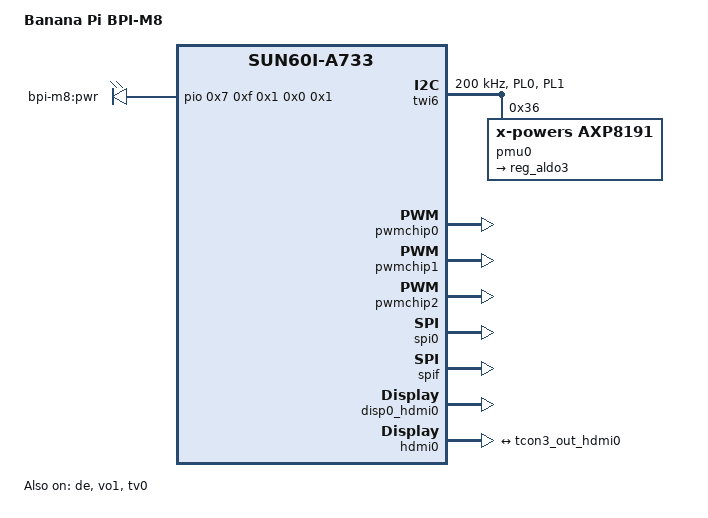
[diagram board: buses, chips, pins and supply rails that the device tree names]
/*
 * Allwinner Technology CO., Ltd. sun50iw10p1 platform
 *
 * modify base on juno.dts
 */
/dts-v1/;
#include <dt-bindings/interrupt-controller/arm-gic.h>
#include <dt-bindings/gpio/gpio.h>
#include "sun60iw2p1-clk.dtsi"
/*#include "sun50iw10p1-pinctrl.dtsi"*/
#include <dt-bindings/thermal/thermal.h>
#include <media_bus_format.h>
#include <drm/drm_mipi_dsi.h>
#include <dt-bindings/phy/phy.h>
/ {
	model = "Banana Pi BPI-M8";
	compatible = "allwinner,a733", "arm,sun60iw2p1";
	#address-cells = <2>;
	#size-cells = <2>;

	aliases {
		mmc0 = &card0_boot_para;
		mmc2 = &card2_boot_para;
		pmu0 = &pmu0;
		/* The legacy sunxi PWM driver resolves controllers by /aliases. */
		pwmchip0 = &pwmchip0;
		pwmchip1 = &pwmchip1;
		pwmchip2 = &pwmchip2;
		pwm18 = &pwm18;
		sunxi-mmc0 = &card0_boot_para;
		sunxi-mmc2 = &card2_boot_para;
		twi6 = &twi6;
	};

	leds {
		compatible = "gpio-leds";

		pwr-led {
			label = "bpi-m8:pwr";
			/* V1.0: PH15 drives the power LED; PD14 is EEPROM WP. */
			gpios = <&pio 0x7 0xf 0x1 0x0 0x1 0x1>;
			default-state = "on";
		};
	};

	soc: soc@29000000 {
		compatible = "simple-bus";
		#address-cells = <2>;
		#size-cells = <2>;
		power_sply:power_sply@4500000c {
			device_type = "power_sply";
			/* 10000 + millivolts enables the output in this BSP. */
			/* V1.0 supplies the 3.3 V PK bank from DLDO4. */
			dldo4_vol = <13300>;
			/* SWOUT1 feeds the switched 3.3 V peripheral rail. */
			dc1sw1_vol = <13300>;
		};

		power_delay:power_delay@4500024 {
			device_type = "power_delay";
		};

		platform:platform@45000004 {
			device_type = "platform";
			dragonboard_test = <0>;

		};

		target:target@45000008 {
			device_type = "target";

		};

		charger0:charger0@45000010 {
			device_type = "charger0";

		};
		card_boot:card_boot@45000014 {
			device_type = "card_boot";
			logical_start   = <40960>;
			/* sprite_gpio0 = <&pio PI 9 1 0xffffffff 0xffffffff 1>; */
			boot_work_delay = <130>;
			boot_work_times = <3>;
			sprite_gpio0 = <&pio 0x8 0x9 0x1 0xffffffff 0xffffffff 0x0>;
		};

		gpio_bias:gpio_bias@45000018 {
			device_type = "gpio_bias";
		};

		fastboot_key:fastboot_key@4500001c {
			device_type = "fastboot_key";
			key_max = <42>;
			key_min = <38>;
		};

		recovery_key:recovery_key@45000020 {
			device_type = "recovery_key";
			key_max = <31>;
			key_min = <28>;
		};

		adc_boot_recovery:adc_boot_recovery@45000024 {
			device_type = "adc_boot_recovery";
		};

		gpadc_boot_recovery:gpadc_boot_recovery@45000024 {
			device_type = "gpadc_boot_recovery";
		};

		key_boot_recovery:key_boot_recovery@45000028 {
			device_type = "key_boot_recovery";
		};

		pio: pinctrl@0300b000 {
			compatible = "allwinner,sun60iw2p1-pinctrl";
			device_type = "pio";
			gpio-controller;
			#size-cells = <0>;
			#gpio-cells = <6>;
			/* takes the debounce time in usec as argument */
			input-debounce = <0 0 0 0 0 0 0 0 0>;
			r_pio: pinctrl@07025000 {

				s_twi0_pins_a: s_twi0@0 {
					allwinner,pins = "PL0", "PL1";
					allwinner,pname = "s_twi0_scl", "s_twi0_sda";
					allwinner,function = "s_twi0";
					allwinner,muxsel = <2>;
					allwinner,drive = <1>;
					allwinner,pull = <1>;
				};

				s_twi0_pins_b: s_twi0@1 {
					allwinner,pins = "PL0", "PL1";
					allwinner,function = "gpio_out";
					allwinner,muxsel = <1>;
					allwinner,drive = <1>;
					allwinner,pull = <1>;
				};
			};
			sdc0_pins_a: sdc0@0 {
				allwinner,pins = "PF0", "PF1", "PF2",
						 "PF3", "PF4", "PF5";
				allwinner,function = "sdc0";
				allwinner,muxsel = <2>;
				allwinner,drive = <3>;
				allwinner,pull = <1>;
			};

			sdc0_pins_b: sdc0@1 {
				allwinner,pins = "PF0", "PF1", "PF2",
						 "PF3", "PF4", "PF5";
				allwinner,function = "io_disabled";
				allwinner,muxsel = <7>;
				allwinner,drive = <1>;
				allwinner,pull = <1>;
			};

			sdc0_pins_c: sdc0@2 {
				allwinner,pins = "PF0", "PF1", "PF2",
						 "PF3", "PF4", "PF5";
				allwinner,function = "uart0_jtag";
				allwinner,muxsel = <3>;
				allwinner,drive = <1>;
				allwinner,pull = <1>;
			};

			sdc2_pins_a: sdc2@0 {
				allwinner,pins = "PF16", "PF17", "PF18",
						 "PF19", "PF20", "PF21", "PF22",
						 "PF23", "PF24", "PF25";
				allwinner,function = "sdc2";
				allwinner,muxsel = <3>;
				allwinner,drive = <3>;
				allwinner,pull = <1>;
			};

			sdc2_pins_b: sdc2@1 {
				allwinner,pins = "PC0", "PC1", "PC5", "PC6",
						 "PC8", "PC9", "PC10", "PC11",
						 "PC13", "PC14", "PC15", "PC16";
				allwinner,function = "io_disabled";
				allwinner,muxsel = <7>;
				allwinner,drive = <1>;
				allwinner,pull = <1>;
			};

			sdc2_pins_c: sdc2@2 {
				allwinner,pins = "PC0";
				allwinner,function = "sdc2";
				allwinner,muxsel = <3>;
				allwinner,drive = <3>;
				allwinner,pull = <2>;
			};

			nand0_pins_a: nand0@0 {
			};

			nand0_pins_b: nand0@1 {
			};

			nand0_pins_c: nand0@2 {
			};

			spi0_pins_a: spi0@0 {
			};

			spi0_pins_b: spi0@1 {
			};

			spi0_pins_c: spi0@2 {
			};

			spif_pins_a: spif@0 {
			};

			spif_pins_b: spif@1 {
			};

			spif_pins_c: spif@2 {
			};

			twi6: s_twi@0x07083000 {
				clock-frequency = <200000>;
				pinctrl-0 = <&s_twi0_pins_a>;
				pinctrl-1 = <&s_twi0_pins_b>;
				twi-supply = <&reg_aldo3>;
				status = "okay";

				pmu0: pmu@36 {
					compatible = "x-powers,axp8191";
					reg = <0x36>;
					status = "okay";

					regulators@0 {
						reg_aldo3: aldo3 {
							regulator-name = "axp8191-aldo3";
						};
					};
				};
			};
			lvds0_pins_a: lvds0@0 {
			};
			lvds0_pins_b: lvds0@1 {
			};
			lvds1_pins_a: lvds1@0 {
			};
			lvds1_pins_b: lvds1@1 {
			};
			lvds2_pins_a: lvds2@0 {
			};
			lvds2_pins_b: lvds2@1 {
			};
			lvds3_pins_a: lvds3@0 {
			};
			lvds3_pins_b: lvds3@1 {
			};
			lcd1_lvds2link_pins_a: lcd1_lvds2link@0 {
			};
			lcd1_lvds2link_pins_b: lcd1_lvds2link@1 {
			};
			lvds2link_pins_a: lvds2link@0 {
			};
			lvds2link_pins_b: lvds2link@1 {
			};
			rgb24_pins_a: rgb24@0 {
			};
			rgb24_pins_b: rgb24@1 {
			};
			rgb18_pins_a: rgb18@0 {
			};
			rgb18_pins_b: rgb18@1 {
			};
			rgb0_2pins_a: rgb0@0 {
				allwinner,pins = "PG0", "PG1";
				allwinner,pname = "PG0", "PG1";
				allwinner,function = "rgb24";
				allwinner,muxsel = <3>;
				allwinner,drive = <3>;
				allwinner,pull = <0>;
			};
			rgb0_2pins_b: rgb0@1 {
				allwinner,pins = "PG0", "PG1";
				allwinner,pname = "PG0", "PG1";
				allwinner,function = "rgb24_suspend";
				allwinner,muxsel = <7>;
				allwinner,drive = <3>;
				allwinner,pull = <0>;
			};
			rgb0_22pins_a: rgb0@2 {
				allwinner,pins = "PD0", "PD1", "PD2", "PD3", "PD4", "PD5", "PG2", "PG3", "PD6", \
					"PD7", "PD8", "PD9", "PD10", "PD11", "PG4", "PG5", "PD12", "PD13", "PD14", \
					"PD15", "PD16", "PD17", "PD18", "PD19", "PD20", "PD21";
				allwinner,pname = "PD0", "PD1", "PD2", "PD3", "PD4", "PD5", "PG2", "PG3", "PD6", \
					"PD7", "PD8", "PD9", "PD10", "PD11", "PG4", "PG5", "PD12", "PD13", "PD14", \
					"PD15", "PD16", "PD17", "PD18", "PD19", "PD20", "PD21";
				allwinner,function = "rgb24";
				allwinner,muxsel = <2>;
				allwinner,drive = <3>;
				allwinner,pull = <0>;
			};
			rgb0_22pins_b: rgb0@3 {
				allwinner,pins = "PD0", "PD1", "PD2", "PD3", "PD4", "PD5", "PG2", "PG3", "PD6", \
					"PD7", "PD8", "PD9", "PD10", "PD11", "PG4", "PG5", "PD12", "PD13", "PD14", \
					"PD15", "PD16", "PD17", "PD18", "PD19", "PD20", "PD21";
				allwinner,pname = "PD0", "PD1", "PD2", "PD3", "PD4", "PD5", "PG2", "PG3", "PD6", \
					"PD7", "PD8", "PD9", "PD10", "PD11", "PG4", "PG5", "PD12", "PD13", "PD14", \
					"PD15", "PD16", "PD17", "PD18", "PD19", "PD20", "PD21";
				allwinner,function = "rgb24_suspend";
				allwinner,muxsel = <7>;
				allwinner,drive = <3>;
				allwinner,pull = <0>;
			};
			rgb1_24pins_a: rgb1@0 {
				allwinner,pins = "PJ0", "PJ1", "PJ2", "PJ3", "PJ4", "PJ5", "PJ6", "PJ7", "PJ8", "PJ9", \
					"PJ10", "PJ11", "PJ12", "PJ13", "PJ14", "PJ15", "PJ16", "PJ17", "PJ18", "PJ19", \
					"PJ20", "PJ21", "PJ22", "PJ23", "PJ24", "PJ25", "PJ26", "PJ27";
				allwinner,pname = "PJ0", "PJ1", "PJ2", "PJ3", "PJ4", "PJ5", "PJ6", "PJ7", "PJ8", "PJ9", \
					"PJ10", "PJ11", "PJ12", "PJ13", "PJ14", "PJ15", "PJ16", "PJ17", "PJ18", "PJ19", \
					"PJ20", "PJ21", "PJ22", "PJ23", "PJ24", "PJ25", "PJ26", "PJ27";
				allwinner,function = "rgb24";
				allwinner,muxsel = <2>;
				allwinner,drive = <3>;
				allwinner,pull = <0>;
			};
			rgb1_24pins_b: rgb1@1 {
				allwinner,pins = "PJ0", "PJ1", "PJ2", "PJ3", "PJ4", "PJ5", "PJ6", "PJ7", "PJ8", "PJ9", \
					"PJ10", "PJ11", "PJ12", "PJ13", "PJ14", "PJ15", "PJ16", "PJ17", "PJ18", "PJ19", \
					"PJ20", "PJ21", "PJ22", "PJ23", "PJ24", "PJ25", "PJ26", "PJ27";
				allwinner,pname = "PJ0", "PJ1", "PJ2", "PJ3", "PJ4", "PJ5", "PJ6", "PJ7", "PJ8", "PJ9", \
					"PJ10", "PJ11", "PJ12", "PJ13", "PJ14", "PJ15", "PJ16", "PJ17", "PJ18", "PJ19", \
					"PJ20", "PJ21", "PJ22", "PJ23", "PJ24", "PJ25", "PJ26", "PJ27";
				allwinner,function = "rgb24_suspend";
				allwinner,muxsel = <7>;
				allwinner,drive = <3>;
				allwinner,pull = <0>;
			};
			eink_pins_a: eink@0 {
			};
			eink_pins_b: eink@1 {
			};
			dsi4lane_pins_a: dsi4lane@0{
			}; /* avoid compile err */
			dsi4lane_pins_b: dsi4lane@1{
			}; /* avoid compile err */
			dsi0_4lane_pins_a: dsi0_4lane@0 {
			};
			dsi0_4lane_pins_b: dsi0_4lane@1 {
			};
			dsi1_4lane_pins_a: dsi1_4lane@0 {
			};
			dsi1_4lane_pins_b: dsi1_4lane@1 {
			};
			pwm0_pin_active: pwm0@0 {
			};

			pwm0_pin_sleep: pwm0@1 {
			};

			pwm1_pin_active: pwm1@0 {
			};

			pwm1_pin_sleep: pwm1@1 {
			};

			pwm2_pin_active: pwm2@0 {
			};

			pwm2_pin_sleep: pwm2@1 {
			};

			pwm3_pin_active: pwm3@0 {
			};

			pwm3_pin_sleep: pwm3@1 {
			};

			pwm4_pin_active: pwm4@0 {
			};

			pwm4_pin_sleep: pwm4@1 {
			};

			pwm16_pin_active: pwm16@0 {
			};

			pwm16_pin_sleep: pwm16@1 {
			};

			pwm18_pin_active: pwm18@0 {
				allwinner,pins = "PE14";
				allwinner,pname = "PE14";
				allwinner,function = "pwm1_8";
				allwinner,muxsel = <5>;
				allwinner,drive = <1>;
				allwinner,pull = <0>;
			};

			pwm19_pin_active: pwm19@0 {
			};

			pwm19_pin_sleep: pwm19@1 {
			};
			gmac0_pins_default: gmac0@0 {
			};
			gmac0_pins_sleep: gmac0@1 {
			};
			gmac1_pins_default: gmac1@0 {
			};
			gmac1_pins_sleep: gmac1@1 {
			};
		};

		pwmchip0: pwmchip0@2527000 {
			#pwm-cells = <0x3>;
			compatible = "allwinner,sunxi-pwm";
			reg = <0x0 0x02527000 0x0 0x400>;
			pwm-number = <10>;
			pwm-base = <0x0>;
			sunxi-pwms = <&pwm0>, <&pwm1>, <&pwm2>, <&pwm3>, <&pwm4>,
			<&pwm5>, <&pwm6>, <&pwm7>, <&pwm8>, <&pwm9>;
		};

		pwm0: pwm0@2527010 {
			#pwm-cells = <0x3>;
			compatible = "allwinner,sunxi-pwm0";
			reg = <0x0 0x02527010 0x0 0x4>;
			reg_base = <0x02527000>;
			status = "disabled";
		};

		pwm1: pwm1@2527011 {
			#pwm-cells = <0x3>;
			compatible = "allwinner,sunxi-pwm1";
			reg = <0x0 0x02527011 0x0 0x4>;
			reg_base = <0x02527000>;
			status = "disabled";
		};

		pwm2: pwm2@2527012 {
			#pwm-cells = <0x3>;
			compatible = "allwinner,sunxi-pwm2";
			reg = <0x0 0x02527012 0x0 0x4>;
			reg_base = <0x02527000>;
			status = "disabled";
		};

		pwm3: pwm3@2527013 {
			#pwm-cells = <0x3>;
			compatible = "allwinner,sunxi-pwm3";
			reg = <0x0 0x02527013 0x0 0x4>;
			reg_base = <0x02527000>;
			status = "disabled";
		};

		pwm4: pwm4@2527014 {
			#pwm-cells = <0x3>;
			compatible = "allwinner,sunxi-pwm4";
			reg = <0x0 0x02527014 0x0 0x4>;
			reg_base = <0x02527000>;
			status = "disabled";
		};

		pwm5: pwm5@2527015 {
			#pwm-cells = <0x3>;
			compatible = "allwinner,sunxi-pwm5";
			reg = <0x0 0x02527015 0x0 0x4>;
			reg_base = <0x02527000>;
			status = "disabled";
		};

		pwm6: pwm6@2527016 {
			#pwm-cells = <0x3>;
			compatible = "allwinner,sunxi-pwm6";
			reg = <0x0 0x02527016 0x0 0x4>;
			reg_base = <0x02527000>;
			status = "disabled";
		};

		pwm7: pwm7@2527017 {
			#pwm-cells = <0x3>;
			compatible = "allwinner,sunxi-pwm7";
			reg = <0x0 0x02527017 0x0 0x4>;
			reg_base = <0x02527000>;
			status = "disabled";
		};

		pwm8: pwm8@2527018 {
			#pwm-cells = <0x3>;
			compatible = "allwinner,sunxi-pwm8";
			reg = <0x0 0x02527018 0x0 0x4>;
			reg_base = <0x02527000>;
			status = "disabled";
		};

		pwm9: pwm9@2527019 {
			#pwm-cells = <0x3>;
			compatible = "allwinner,sunxi-pwm9";
			reg = <0x0 0x02527019 0x0 0x4>;
			reg_base = <0x02527000>;
			status = "disabled";
		};

		pwmchip1: pwmchip1@2528000 {
			#pwm-cells = <0x3>;
			compatible = "allwinner,sunxi-pwm";
			reg = <0x0 0x02528000 0x0 0x400>;
			pwm-number = <10>;
			pwm-base = <0xa>;
			sunxi-pwms = <&pwm10>, <&pwm11>, <&pwm12>, <&pwm13>, <&pwm14>,
			<&pwm15>, <&pwm16>, <&pwm17>, <&pwm18>, <&pwm19>;
		};

		pwm10: pwm10@2528010 {
			#pwm-cells = <0x3>;
			compatible = "allwinner,sunxi-pwm10";
			reg = <0x0 0x02528010 0x0 0x4>;
			reg_base = <0x02528000>;
			status = "disabled";
		};

		pwm11: pwm11@2528011 {
			#pwm-cells = <0x3>;
			compatible = "allwinner,sunxi-pwm11";
			reg = <0x0 0x02528011 0x0 0x4>;
			reg_base = <0x02528000>;
			status = "disabled";
		};

		pwm12: pwm12@2528012 {
			#pwm-cells = <0x3>;
			compatible = "allwinner,sunxi-pwm12";
			reg = <0x0 0x02528012 0x0 0x4>;
			reg_base = <0x02528000>;
			status = "disabled";
		};

		pwm13: pwm13@2528013 {
			#pwm-cells = <0x3>;
			compatible = "allwinner,sunxi-pwm13";
			reg = <0x0 0x02528013 0x0 0x4>;
			reg_base = <0x02528000>;
			status = "disabled";
		};

		pwm14: pwm14@2528014 {
			#pwm-cells = <0x3>;
			compatible = "allwinner,sunxi-pwm14";
			reg = <0x0 0x02528014 0x0 0x4>;
			reg_base = <0x02528000>;
			status = "disabled";
		};

		pwm15: pwm15@2528015 {
			#pwm-cells = <0x3>;
			compatible = "allwinner,sunxi-pwm15";
			reg = <0x0 0x02528015 0x0 0x4>;
			reg_base = <0x02528000>;
			status = "disabled";
		};

		pwm16: pwm16@2528016 {
			#pwm-cells = <0x3>;
			compatible = "allwinner,sunxi-pwm16";
			reg = <0x0 0x02528016 0x0 0x4>;
			reg_base = <0x02528000>;
			status = "disabled";
		};

		pwm17: pwm17@2528017 {
			#pwm-cells = <0x3>;
			compatible = "allwinner,sunxi-pwm17";
			reg = <0x0 0x02528017 0x0 0x4>;
			reg_base = <0x02528000>;
			status = "disabled";
		};

		pwm18: pwm18@2528018 {
			#pwm-cells = <0x3>;
			compatible = "allwinner,sunxi-pwm18";
			reg = <0x0 0x02528018 0x0 0x4>;
			reg_base = <0x02528000>;
			status = "disabled";
		};

		pwm19: pwm19@2528019 {
			#pwm-cells = <0x3>;
			compatible = "allwinner,sunxi-pwm19";
			reg = <0x0 0x02528019 0x0 0x4>;
			reg_base = <0x02528000>;
			status = "disabled";
		};

		pwmchip2: spwm0@7023000 {
			#pwm-cells = <0x3>;
			compatible = "allwinner,sunxi-pwm";
			reg = <0x0 0x07023000 0x0 0x400>;
			pwm-number = <10>;
			pwm-base = <0x14>;
			sunxi-pwms = <&pwm20>, <&pwm21>, <&pwm22>, <&pwm23>, <&pwm24>,
			<&pwm25>, <&pwm26>, <&pwm27>, <&pwm28>, <&pwm29>;
		};

		pwm20: pwm20@7023010 {
			#pwm-cells = <0x3>;
			compatible = "allwinner,sunxi-pwm20";
			reg = <0x0 0x07023010 0x0 0x4>;
			reg_base = <0x07023000>;
			status = "disabled";
		};

		pwm21: pwm21@7023011 {
			#pwm-cells = <0x3>;
			compatible = "allwinner,sunxi-pwm21";
			reg = <0x0 0x07023011 0x0 0x4>;
			reg_base = <0x07023000>;
			status = "disabled";
		};

		pwm22: pwm22@7023012 {
			#pwm-cells = <0x3>;
			compatible = "allwinner,sunxi-pwm22";
			reg = <0x0 0x07023012 0x0 0x4>;
			reg_base = <0x07023000>;
			status = "disabled";
		};

		pwm23: pwm23@7023013 {
			#pwm-cells = <0x3>;
			compatible = "allwinner,sunxi-pwm23";
			reg = <0x0 0x07023013 0x0 0x4>;
			reg_base = <0x07023000>;
			status = "disabled";
		};

		pwm24: pwm24@7023014 {
			#pwm-cells = <0x3>;
			compatible = "allwinner,sunxi-pwm24";
			reg = <0x0 0x07023014 0x0 0x4>;
			reg_base = <0x07023000>;
			status = "disabled";
		};

		pwm25: pwm25@7023015 {
			#pwm-cells = <0x3>;
			compatible = "allwinner,sunxi-pwm25";
			reg = <0x0 0x07023015 0x0 0x4>;
			reg_base = <0x07023000>;
			status = "disabled";
		};

		pwm26: pwm26@7023016 {
			#pwm-cells = <0x3>;
			compatible = "allwinner,sunxi-pwm26";
			reg = <0x0 0x07023016 0x0 0x4>;
			reg_base = <0x07023000>;
			status = "disabled";
		};

		pwm27: pwm27@7023017 {
			#pwm-cells = <0x3>;
			compatible = "allwinner,sunxi-pwm27";
			reg = <0x0 0x07023017 0x0 0x4>;
			reg_base = <0x07023000>;
			status = "disabled";
		};

		pwm28: pwm28@7023018 {
			#pwm-cells = <0x3>;
			compatible = "allwinner,sunxi-pwm28";
			reg = <0x0 0x07023018 0x0 0x4>;
			reg_base = <0x07023000>;
			status = "disabled";
		};

		pwm29: pwm29@7023019 {
			#pwm-cells = <0x3>;
			compatible = "allwinner,sunxi-pwm29";
			reg = <0x0 0x07023019 0x0 0x4>;
			reg_base = <0x07023000>;
			status = "disabled";
		};

		card0_boot_para:card0_boot_para@2 {
			device_type = "card0_boot_para";
			card_ctrl = <0x0>;
			card_high_speed = <0x1>;
			card_line = <0x4>;
			clk_mmc = "sdmmc0_mod";
			pll-0 = "hosc";
			pll-1 = "pll_periph1_400m";
			pll-2 = "pll_periph1_300m";
			pinctrl-0 = <&sdc0_pins_a>;
			pinctrl-1 = <&sdc0_pins_b>;
			sdc_type = "tm1";
			clk_type = "typ1";
		};

		card2_boot_para:card2_boot_para@3 {
			device_type = "card2_boot_para";
			card_ctrl = <0x2>;
			card_high_speed = <0x1>;
			card_line = <0x8>;
			pinctrl-0 = <&sdc2_pins_a &sdc2_pins_c>;
			pinctrl-1 = <&sdc2_pins_b>;
			sdc_ex_dly_used = <0x2>;
			sdc_io_1v8 = <0x1>;
			sdc_tm4_win_th = <0x08>;
			sdc_tm4_hs200_max_freq = <150>;
			sdc_tm4_hs400_max_freq = <100>;
			sdc_type = "tm4";
			clk_type = "orgn";
		};

		sid: sid@3006000 {
			device_type = "sid";
		};

		nand0:nand0@04011000 {
			device_type = "nand0";
		};

		spi0: spi@2540000 {
			#address-cells = <1>;
			#size-cells = <0>;
			compatible = "allwinner,sun20i-spi";
			device_type = "spi0";
			reg = <0x0 0x02540000 0x0 0x300>;
			//interrupts-extended = <&plic0 31 IRQ_TYPE_LEVEL_HIGH>;
			//clocks = <&ccu CLK_PLL_PERIPH0>, <&ccu CLK_SPI0>, <&ccu CLK_BUS_SPI0>;
			//clock-names = "pll", "mod", "bus";
			//resets = <&ccu RST_BUS_SPI0>;
		};

		spif: spif@4f00000 {
			#address-cells = <1>;
			#size-cells = <0>;
			compatible = "allwinner,sun55i-spif";
			device_type = "spif";
			reg = <0x0 0x047f0000 0x0 0x1000>;
			//interrupts-extended = <&plic0 19 IRQ_TYPE_LEVEL_HIGH>;
			//clocks = <&ccu CLK_PLL_PERIPH0>, <&ccu CLK_SPIF>, <&ccu CLK_BUS_SPIF>;
			//clock-names = "pll", "mod", "bus";
			//resets = <&ccu RST_BUS_SPIF>;
		};

		serdes: serdes@6c00000 {
			  compatible = "allwinner,cadence-combophy";
			  reg = <0x0 0x06c00000 0x0 0x400>, /* serdes top register part-1 */
					<0x0 0x06c06000 0x0 0x2000>, /* serdes top register part-2 */
					<0x0 0x0709016c 0x0 0x4>; /* sys-rtc */
			  clocks = <&clk_serdes_phy_cfgv>,
					   <&clk_dcxo_serdes0_gate>,
					   <&clk_dcxo_serdes1_gate>;
			  clock-names = "serdes-clk",
					   "dcxo-serdes0-clk",
					   "dcxo-serdes1-clk";
			  #address-cells = <2>;
			  #size-cells = <2>;
			  ranges;
			  status = "disabled";

			  combophy0: combo-phy0@6c01000 {
				  reg = <0x0 0x06c01000 0x0 0xa00>, /* combophy0 top register */
						<0x0 0x06c80000 0x0 0x20000>; /* combophy0 phy register*/
				  #phy-cells = <1>;
			  };

			  combophy1: combo-phy1@6c02000 {
				  reg = <0x0 0x06c02000 0x0 0xa00>, /* combophy1 top register */
						<0x0 0x06ca0000 0x0 0x20000>; /* combophy1 phy register*/
				  #phy-cells = <1>;
			  };

			  aux_hpd: aux-hpd@6c01e00 {
				  reg = <0x0 0x06c01e00 0x0 0x200>; /* aux_hpd top register */
				  #phy-cells = <1>;
			  };
		};

		pcie_rc: pcie@6000000 {
			compatible = "allwinner,sunxi-pcie-v300-rc";
			#address-cells = <3>;
			#size-cells = <2>;
			bus-range = <0x0 0xff>;
			reg = <0 0x06000000 0 0x480000>;
			reg-names = "dbi";
			device_type = "pci";
			ranges = <0x00000800 0 0x20000000 0x0 0x20000000 0 0x01000000
				  0x81000000 0 0x21000000 0x0 0x21000000 0 0x01000000
				  0x82000000 0 0x22000000 0x0 0x22000000 0 0x0e000000>;
			num-lanes = <1>;
			phys = <&combophy1 PHY_TYPE_PCIE>;
			phy-names = "pcie-phy";
			#interrupt-cells = <1>;
			num-edma = <4>;
			max-link-speed = <3>;
			num-ib-windows = <16>;
			num-ob-windows = <16>;
			linux,pci-domain = <0>;
			status = "disabled";
		};

		sunxi_drm: sunxi-drm {
			compatible = "allwinner,sunxi-drm";
			fb_base = <0>;
			status = "okay";
			route {
				disp0_lvds0: disp0_lvds0 {
					enable = <0>;
					status = "disabled";
					endpoints = <&disp0_out_tcon0 &tcon0_out_lvds0>;
					logo,uboot = "bootlogo.bmp";
				};
				disp0_lvds1: disp0_lvds1 {
					enable = <0>;
					status = "disabled";
					endpoints = <&disp0_out_tcon2 &tcon2_out_lvds1>;
					logo,uboot = "bootlogo.bmp";
				};
				disp0_rgb0: disp0_rgb0 {
					enable = <0>;
					status = "disabled";
					endpoints = <&disp0_out_tcon0 &tcon0_out_rgb0>;
					logo,uboot = "bootlogo.bmp";
				};
				disp0_rgb1: disp0_rgb1 {
					enable = <0>;
					status = "disabled";
					endpoints = <&disp0_out_tcon2 &tcon2_out_rgb1>;
					logo,uboot = "bootlogo.bmp";
				};
				disp0_dsi0: disp0_dsi0 {
					enable = <0>;
					status = "disabled";
					endpoints = <&disp0_out_tcon0 &tcon0_out_dsi0>;
					logo,uboot = "bootlogo.bmp";
				};
				disp0_dsi1: disp0_dsi1 {
					enable = <0>;
					status = "disabled";
					endpoints = <&disp0_out_tcon1 &tcon1_out_dsi1>;
					logo,uboot = "bootlogo.bmp";
				};
				disp0_edp0: disp0_edp0 {
					enable = <0>;
					status = "disabled";
					endpoints = <&disp0_out_tcon4 &tcon4_out_edp0>;
					force-output;
					logo,uboot = "bootlogo.bmp";
				};
				disp0_hdmi0: disp0_hdmi0 {
					enable = <1>;
					status = "okay";
					endpoints = <&disp0_out_tcon3 &tcon3_out_hdmi0>;
					logo,uboot = "bootlogo.bmp";
				};

				disp1_lvds0: disp1_lvds0 {
					enable = <0>;
					status = "disabled";
					endpoints = <&disp1_out_tcon0 &tcon0_out_lvds0>;
					logo,uboot = "bootlogo.bmp";
				};
				disp1_lvds1: disp1_lvds1 {
					enable = <0>;
					status = "disabled";
					endpoints = <&disp1_out_tcon2 &tcon2_out_lvds1>;
					logo,uboot = "bootlogo.bmp";
				};
				disp1_rgb0: disp1_rgb0 {
					enable = <0>;
					status = "disabled";
					endpoints = <&disp1_out_tcon0 &tcon0_out_rgb0>;
					logo,uboot = "bootlogo.bmp";
				};
				disp1_rgb1: disp1_rgb1 {
					enable = <0>;
					status = "disabled";
					endpoints = <&disp1_out_tcon2 &tcon2_out_rgb1>;
					logo,uboot = "bootlogo.bmp";
				};
				disp1_dsi0: disp1_dsi0 {
					enable = <0>;
					status = "disabled";
					endpoints = <&disp1_out_tcon0 &tcon0_out_dsi0>;
					logo,uboot = "bootlogo.bmp";
				};
				disp1_dsi1: disp1_dsi1 {
					enable = <0>;
					status = "disabled";
					endpoints = <&disp1_out_tcon1 &tcon1_out_dsi1>;
					logo,uboot = "bootlogo.bmp";
				};
				disp1_edp0: disp1_edp0 {
					enable = <0>;
					status = "disabled";
					endpoints = <&disp1_out_tcon4 &tcon4_out_edp0>;
					logo,uboot = "bootlogo.bmp";
				};
				disp1_hdmi0: disp1_hdmi0 {
					enable = <0>;
					status = "disabled";
					endpoints = <&disp1_out_tcon3 &tcon3_out_hdmi0>;
					logo,uboot = "bootlogo.bmp";
				};
			};
		};

		de: de@5000000 {
			compatible = "allwinner,display-engine-v352";
			/* Keep the channel assignment consistent with the kernel. */
			chn_cfg_mode = <2>;
//			iommus = <&mmu_aw 8 1>;
			/*power-domains = <&pd1 A523_PCK_DE>;*/
			reg = <0x0 0x5000000 0x0 0x400000>;
			interrupts = <GIC_SPI 50 IRQ_TYPE_LEVEL_HIGH>,
				     <GIC_SPI 34 IRQ_TYPE_LEVEL_HIGH>;
			clocks = <&clk_de0>;
			clock-names = "clk_de";

/*
			clocks = <&ccu CLK_DE0>,
				 <&ccu CLK_BUS_DE0>;
			clock-names = "clk_de",
				      "clk_bus_de";
			resets = <&ccu RST_BUS_DE0>,
				 <&ccu RST_BUS_DE_SY>;
			reset-names = "rst_bus_de",
				      "rst_bus_de_sys";
			assigned-clocks = <&ccu CLK_DE0>;
			assigned-clock-parents = <&ccu CLK_PLL_DE_3X>;
			assigned-clock-rates = <300000000>;*/
			status = "okay";
			ports {
				#address-cells = <1>;
				#size-cells = <0>;
				disp0: port@0 {
					reg = <0>;
					#address-cells = <1>;
					#size-cells = <0>;
					disp0_out_tcon0: endpoint@0 {
						reg = <0>;
						remote-endpoint = <&tcon0_in_disp0>;
					};
					disp0_out_tcon1: endpoint@1 {
						reg = <1>;
						remote-endpoint = <&tcon1_in_disp0>;
					};
					disp0_out_tcon2: endpoint@2 {
						reg = <2>;
						remote-endpoint = <&tcon2_in_disp0>;
					};
					disp0_out_tcon3: endpoint@3 {
						reg = <4>;
						remote-endpoint = <&tcon3_in_disp0>;
					};
					disp0_out_tcon4: endpoint@4 {
						reg = <5>;
						remote-endpoint = <&tcon4_in_disp0>;
					};
				};
				disp1: port@1 {
					reg = <1>;
					#address-cells = <1>;
					#size-cells = <0>;
					disp1_out_tcon0: endpoint@0 {
						reg = <0>;
						remote-endpoint = <&tcon0_in_disp1>;
					};
					disp1_out_tcon1: endpoint@1 {
						reg = <1>;
						remote-endpoint = <&tcon1_in_disp1>;
					};
					disp1_out_tcon2: endpoint@2 {
						reg = <2>;
						remote-endpoint = <&tcon2_in_disp1>;
					};
					disp1_out_tcon3: endpoint@3 {
						reg = <4>;
						remote-endpoint = <&tcon3_in_disp1>;
					};
					disp1_out_tcon4: endpoint@4 {
						reg = <5>;
						remote-endpoint = <&tcon4_in_disp1>;
					};
				};
			};
		};

		vo0: vo0@5500000 {
			compatible = "allwinner,tcon-top0";
			/*power-domains = <&pd1 A523_PCK_VO0>;*/
			reg = <0x0 0x05500000 0x0 0x1000>;
			clocks = <&clk_dpss_top0>;
			clock-names = "clk_bus_dpss_top";

			status = "disabled";
		};

		vo1: vo1@5510000 {
			compatible = "allwinner,tcon-top1";
			/*power-domains = <&pd1 A523_PCK_VO1>;*/
			reg = <0x0 0x05510000 0x0 0x1000>;
			clocks = <&clk_dpss_top1>;
			clock-names = "clk_bus_dpss_top";

			status = "okay";
		};

		lcd0: tcon0@5501000 {
			compatible = "allwinner,tcon-lcd";
			reg = <0x0 0x05501000 0x0 0x1000>;
			interrupts = <GIC_SPI 54 IRQ_TYPE_LEVEL_HIGH>;
			clocks = <&clk_tcon_lcd0>;
			clock-names = "clk_tcon";
			top = <&vo0>;
			status = "disabled";
			ports {
				#address-cells = <1>;
				#size-cells = <0>;
				tcon0_in: port@0 {
					#address-cells = <1>;
					#size-cells = <0>;
					reg = <0>;
					tcon0_in_disp0: endpoint@0 {
						reg = <0>;
						remote-endpoint = <&disp0_out_tcon0>;
					};
					tcon0_in_disp1: endpoint@1 {
						reg = <1>;
						remote-endpoint = <&disp1_out_tcon0>;
					};
				};
				tcon0_out: port@1 {
					#address-cells = <1>;
					#size-cells = <0>;
					reg = <1>;
					tcon0_out_dsi0: endpoint@0 {
						reg = <0>;
						remote-endpoint = <&dsi0_in_tcon0>;
					};
					tcon0_out_dsi1: endpoint@1 {
						reg = <1>;
						remote-endpoint = <&dsi1_in_tcon0>;
					};
					tcon0_out_lvds0: endpoint@2 {
						reg = <2>;
						remote-endpoint = <&lvds0_in_tcon0>;
					};
					tcon0_out_rgb0: endpoint@3 {
						reg = <3>;
						remote-endpoint = <&rgb0_in_tcon0>;
					};
				};
			};
		};

		lcd1: tcon1@5502000 {
			compatible = "allwinner,tcon-lcd";
			reg = <0x0 0x05502000 0x0 0x1000>;
			interrupts = <GIC_SPI 55 IRQ_TYPE_LEVEL_HIGH>;
			clocks = <&clk_tcon_lcd1>;
			clock-names = "clk_tcon";
			top = <&vo0>;
			status = "disabled";
			ports {
				#address-cells = <1>;
				#size-cells = <0>;
				tcon1_in: port@0 {
					reg = <0>;
					#address-cells = <1>;
					#size-cells = <0>;
					tcon1_in_disp0: endpoint@0 {
						reg = <0>;
						remote-endpoint = <&disp0_out_tcon1>;
					};
					tcon1_in_disp1: endpoint@1 {
						reg = <1>;
						remote-endpoint = <&disp1_out_tcon1>;
					};
				};
				tcon1_out: port@1 {
					#address-cells = <1>;
					#size-cells = <0>;
					reg = <1>;
					tcon1_out_dsi1: endpoint@0 {
						reg = <0>;
						remote-endpoint = <&dsi1_in_tcon1>;
					};
				};
			};
		};

		lcd2: tcon2@5503000 {
			compatible = "allwinner,tcon-lcd";
			reg = <0x0 0x05503000 0x0 0x1000>;
			interrupts = <GIC_SPI 56 IRQ_TYPE_LEVEL_HIGH>;
			clocks = <&clk_tcon_lcd2>;
			clock-names = "clk_tcon";
			top = <&vo0>;
			status = "disabled";

			ports {
				#address-cells = <1>;
				#size-cells = <0>;
				tcon2_in: port@0 {
					#address-cells = <1>;
					#size-cells = <0>;
					reg = <0>;
					tcon2_in_disp0: endpoint@0 {
						reg = <0>;
						remote-endpoint = <&disp0_out_tcon2>;
					};
					tcon2_in_disp1: endpoint@1 {
						reg = <1>;
						remote-endpoint = <&disp1_out_tcon2>;
					};
				};
				tcon2_out: port@1 {
					#address-cells = <1>;
					#size-cells = <0>;
					reg = <1>;
					tcon2_out_lvds1: endpoint@0 {
						reg = <0>;
						remote-endpoint = <&lvds1_in_tcon2>;
					};
					tcon2_out_rgb1: endpoint@1 {
						reg = <1>;
						remote-endpoint = <&rgb1_in_tcon2>;
					};
				};
			};
		};

		dsi0combophy: phy@5507000 {
			compatible = "allwinner,sunxi-dsi-combo-phy0,sun60iw2";
			reg = <0x0 0x05507000 0x0 0x1ff>;
			clocks = <&clk_mipi_dsi0>;
			clock-names = "phy_clk";
			#phy-cells = <0>;
			status = "disabled";
		};

		dsi0: dsi0@5506000 {
			compatible = "allwinner,dsi0";
			reg = <0x0 0x05506000 0x0 0xfff>,
				<0x0 0x5504000 0x0 0xfff>;
			interrupts = <GIC_SPI 59 IRQ_TYPE_LEVEL_HIGH>;
			clocks = <&clk_mipi_dsi0>,
			       <&clk_mipi_dsc>;
			clock-names = "dsi_clk", "dsc_clk";
			phys = <&dsi0combophy>;
			phy-names = "combophy";
			status = "disabled";

			ports {
				#address-cells = <1>;
				#size-cells = <0>;
				dsi0_in: port@0 {
					#address-cells = <1>;
					#size-cells = <0>;
					reg = <0>;
					dsi0_in_tcon0: endpoint@0 {
						reg = <0>;
						remote-endpoint = <&tcon0_out_dsi0>;
					};
				};
			};
		};

		dsi1combophy: phy@5509000 {
			compatible = "allwinner,sunxi-dsi-combo-phy1,sun60iw2";
			reg = <0x0 0x05509000 0x0 0x1ff>;
			clocks = <&clk_mipi_dsi1>;
			clock-names = "phy_clk";
			#phy-cells = <0>;
			status = "disabled";
		};

		dsi1: dsi1@5508000 {
			compatible = "allwinner,dsi1";
			reg = <0x0 0x05508000 0x0 0xfff>;
			interrupts = <GIC_SPI 60 IRQ_TYPE_LEVEL_HIGH>;
			clocks = <&clk_mipi_dsi1>;
			clock-names = "dsi_clk";
			phys = <&dsi1combophy>;
			phy-names = "combophy";
			status = "disabled";
			ports {
				#address-cells = <1>;
				#size-cells = <0>;

				dsi1_in: port@0 {
					reg = <0>;
					#address-cells = <1>;
					#size-cells = <0>;
					dsi1_in_tcon1: endpoint@1 {
						reg = <0>;
						remote-endpoint = <&tcon1_out_dsi1>;
					};
					dsi1_in_tcon0: endpoint@0 {
						reg = <1>;
						remote-endpoint = <&tcon0_out_dsi1>;
					};
				};
			};
		};
		rgb0: rgb0@0001000 {
			compatible = "allwinner,rgb0";
			status = "disabled";
			phys = <&dsi0combophy>;
			phy-names = "combophy0";
			ports {
				#address-cells = <1>;
				#size-cells = <0>;
				rgb0_in: port@0 {
					#address-cells = <1>;
					#size-cells = <0>;
					reg = <0>;
					rgb0_in_tcon0: endpoint@0 {
						reg = <0>;
						remote-endpoint = <&tcon0_out_rgb0>;
					};
				};
			};
		};

		lvds0: lvds0@0001000 {
			compatible = "allwinner,lvds0";
			clocks = <&clk_lvds0>;
			clock-names = "clk_lvds";
			phys = <&dsi0combophy>, <&dsi1combophy>;
			phy-names = "combophy0", "combophy1";
			status = "disabled";

			ports {
				#address-cells = <1>;
				#size-cells = <0>;
				lvds0_in: port@0 {
					#address-cells = <1>;
					#size-cells = <0>;
					reg = <0>;
					lvds0_in_tcon0: endpoint@0 {
						reg = <0>;
						remote-endpoint = <&tcon0_out_lvds0>;
					};
				};
			};
		};
		rgb1: rgb1@0001000 {
			compatible = "allwinner,rgb1";
			reg = <0>;
			status = "disabled";
			ports {
				#address-cells = <1>;
				#size-cells = <0>;
				rgb1_in: port@0 {
					#address-cells = <1>;
					#size-cells = <0>;
					reg = <0>;
					rgb1_in_tcon2: endpoint@0 {
						reg = <0>;
						remote-endpoint = <&tcon2_out_rgb1>;
					};
				};
			};
		};

		lvds1: lvds1@0001000 {
			compatible = "allwinner,lvds1";
			clocks = <&clk_lvds1>;
			clock-names = "clk_lvds";
			status = "disabled";

			ports {
				#address-cells = <1>;
				#size-cells = <0>;
				lvds1_in: port@0 {
					#address-cells = <1>;
					#size-cells = <0>;
					reg = <0>;
					lvds1_in_tcon2: endpoint@0 {
						reg = <0>;
						remote-endpoint = <&tcon2_out_lvds1>;
					};
				};
			};
		};

		tv0: tcon3@5730000 {
			compatible = "allwinner,tcon-tv";
			reg = <0x0 0x05730000 0x0 0x1000>;
			interrupts = <GIC_SPI 57 IRQ_TYPE_LEVEL_HIGH>;
			clocks = <&clk_hdmi_tv>,
				<&clk_tcon_tv0>;
			clock-names = "clk_tcon",
				"rst_bus_tcon";

			top = <&vo1>;
			status = "okay";
			ports {
				#address-cells = <1>;
				#size-cells = <0>;
				tcon3_in: port@0 {
					#address-cells = <1>;
					#size-cells = <0>;
					reg = <0>;
					tcon3_in_disp0: endpoint@0 {
						reg = <0>;
						remote-endpoint = <&disp0_out_tcon3>;
					};
					tcon3_in_disp1: endpoint@1 {
						reg = <1>;
						remote-endpoint = <&disp1_out_tcon3>;
					};
				};
				tcon3_out: port@1 {
					#address-cells = <1>;
					#size-cells = <0>;
					reg = <1>;
					tcon3_out_hdmi0: endpoint@0 {
						reg = <0>;
						remote-endpoint = <&hdmi0_in_tcon3>;
					};
				};
			};
		};

		tv1: tcon4@5731000 {
			compatible = "allwinner,tcon-tv";
			reg = <0x0 0x05731000 0x0 0x1000>;
			interrupts = <GIC_SPI 58 IRQ_TYPE_LEVEL_HIGH>;
			clocks = <&clk_edp>, <&clk_tcon_tv1>;
			clock-names = "clk_tcon", "clk_bus_tcon";
			top = <&vo1>;
			status = "disabled";

			ports {
				#address-cells = <1>;
				#size-cells = <0>;
				tcon4_in: port@0 {
					reg = <0>;
					#address-cells = <1>;
					#size-cells = <0>;
					tcon4_in_disp0: endpoint@0 {
						reg = <0>;
						remote-endpoint = <&disp0_out_tcon4>;
					};
					tcon4_in_disp1: endpoint@1 {
						reg = <1>;
						remote-endpoint = <&disp1_out_tcon4>;
					};
				};
				tcon4_out: port@1 {
					#address-cells = <1>;
					#size-cells = <0>;
					reg = <1>;
					tcon4_out_edp0: endpoint@0 {
						reg = <0>;
						remote-endpoint = <&edp0_in_tcon4>;
					};
				};
			};
		};

		edp0: edp0@5720000 {
			compatible = "allwinner,drm-dp";
			reg = <0x0 0x05740000 0x0 0x1000>, /* edp base */
				  <0x0 0x05760000 0x0 0x0020>;  /* edp pad base */
			interrupts = <GIC_SPI 62 IRQ_TYPE_LEVEL_HIGH>;
			clocks = <&clk_edp>;
			clock-names = "clk_edp";
			/* resets = <&ccu RST_BUS_EDP>; */
			/* reset-names = "rst_bus_edp"; */
			phys = <&aux_hpd PHY_TYPE_AUX>, <&combophy0 PHY_TYPE_DP>;
			phy-names = "aux-phy", "dp-phy";
			pclk_limit = <200000>; /*KHz*/
			status = "disabled";
			ports {
				#address-cells = <1>;
				#size-cells = <0>;
				edp_in: port@0 {
					#address-cells = <1>;
					#size-cells = <0>;
					reg = <0>;
					edp0_in_tcon4: endpoint@0 {
						reg = <0>;
						remote-endpoint = <&tcon4_out_edp0>;
					};
				};
				edp_out: port@1 {
					#address-cells = <1>;
					#size-cells = <0>;
					reg = <1>;
				};
			};
		};

		hdmi0: hdmi0@5520000 {
			compatible = "allwinner,sunxi-hdmi";
			reg = <0x0 0x5520000 0x0 0x100000>;
			interrupts = <GIC_SPI 61 IRQ_TYPE_LEVEL_HIGH>;
			clocks = <&clk_hdmi_tv>,
				<&clk_hdmi_gate>,
				<&clk_hdmi_sfr>,
				<&clk_hdmi_main_rst>,
				<&clk_hdmi_sub_rst>;
			clock-names = "clk_tcon_tv",
				"clk_hdmi",
				"clk_hdmi_24M",
				"rst_main",
				"rst_sub";

			assigned-clocks = <&clk_hdmi_gate>;
			assigned-clock-rates = <0>, <0>;
			/*power-domains = <&pd1 A523_PCK_VO0>;*/

			uhdmi_fast_output = <0>;
			uhdmi_resistor_select = <1>;
			snps_phy = <
				 25000 185625 0x0007 0x8160 0x8188
				185625 185625 0x0007 0x8160 0x8198
				185625 340000 0x0004 0x8040 0x8E85
				340000 600000 0x0000 0x80c0 0x82F6>;
			status = "okay";
			ports {
				#address-cells = <1>;
				#size-cells = <0>;
				hdmi_in: port@0 {
					#address-cells = <1>;
					#size-cells = <0>;
					reg = <0>;
					hdmi0_in_tcon3: endpoint@0 {
						reg = <0>;
						remote-endpoint = <&tcon3_out_hdmi0>;
					};
				};
			};
		};

		gmac0: ethernet@4500000 {
			compatible = "allwinner,sunxi-dwmac";
			reg = <0x0 0x04500000 0x0 0x8000>,
			      <0x0 0x04508000 0x0 0x8000>;
			clocks = <&clk_gmac0_mbus>, <&clk_gmac0_axi>, <&clk_gmac0>, <&clk_gmac0_phy>;
			clock-names = "pclk", "axi", "ahb", "phy";
			aw,gmac-version = "210";
			phy-handle = <&phy0>;
			status = "disabled";

			mdio0: mdio0 {
				#address-cells = <1>;
				#size-cells = <0>;
				compatible = "snps,dwmac-mdio";
				phy0: ethernet-phy@0 {
					reg = <0x1>;
				};
			};
		};

		gmac1: ethernet@4510000 {
			compatible = "allwinner,sunxi-dwmac";
			reg = <0x0 0x04510000 0x0 0x8000>,
			      <0x0 0x04518000 0x0 0x8000>;
			clocks = <&clk_gmac1_mbus>, <&clk_gmac1_axi>, <&clk_gmac1>, <&clk_gmac1_phy>;
			clock-names = "pclk", "axi", "ahb", "phy";
			aw,gmac-version = "210";
			phy-handle = <&phy1>;
			status = "disabled";

			mdio1: mdio1 {
				#address-cells = <1>;
				#size-cells = <0>;
				compatible = "snps,dwmac-mdio";
				phy1: ethernet-phy@1 {
					reg = <0x1>;
				};
			};
		};


		clk_test: clk_test@0x12345 {
			clocks = <&clk_sdmmc0_mod>,
				<&clk_sdmmc0_rst>,
				<&clk_sdmmc0_bus>,
				<&clk_sdmmc2_mod>,
				<&clk_sdmmc2_rst>,
				<&clk_sdmmc2_bus>;
			status = "okay";
		};
	};

	gic: interrupt-controller@3020000 {
		compatible = "arm,cortex-a15-gic", "arm,cortex-a9-gic";
		#interrupt-cells = <3>;
		#address-cells = <0>;
		device_type = "gic";
		interrupt-controller;
		reg = <0x0 0x03021000 0 0x1000>, /* GIC Dist */
		      <0x0 0x03022000 0 0x2000>, /* GIC CPU */
		      <0x0 0x03024000 0 0x2000>, /* GIC VCPU Control */
		      <0x0 0x03026000 0 0x2000>; /* GIC VCPU */
		interrupts = <GIC_PPI 9 0xf04>;  /* GIC Maintenence IRQ */
		interrupt-parent = <&gic>;
	};
	aliases:aliases@45100000 {
		pwmchip0 = &pwmchip0;
		pwmchip1 = &pwmchip1;
		pwmchip2 = &pwmchip2;
		pwm0 = &pwm0;
		pwm1 = &pwm1;
		pwm2 = &pwm2;
		pwm3 = &pwm3;
		pwm4 = &pwm4;
		pwm16 = &pwm16;
		pwm19 = &pwm19;
		twi6 = &twi6;
		pmu0 = &pmu0;
		spi0 = &spi0;
		mmc0 = &card0_boot_para;
		mmc2 = &card2_boot_para;
		sunxi-mmc0 = &card0_boot_para;
		sunxi-mmc2 = &card2_boot_para;
		ethernet0 = &gmac0;
		ethernet1 = &gmac1;
	};

};

#include ".board-uboot.dts"

/ {
	backlight0: backlight0 {
		compatible = "pwm-backlight";
		status = "disabled";
		brightness-levels = <
			  0   1   2   3   4   5   6   7
			  8   9  10  11  12  13  14  15
			 16  17  18  19  20  21  22  23
			 24  25  26  27  28  29  30  31
			 32  33  34  35  36  37  38  39
			 40  41  42  43  44  45  46  47
			 48  49  50  51  52  53  54  55
			 56  57  58  59  60  61  62  63
			 64  65  66  67  68  69  70  71
			 72  73  74  75  76  77  78  79
			 80  81  82  83  84  85  86  87
			 88  89  90  91  92  93  94  95
			 96  97  98  99 100 101 102 103
			104 105 106 107 108 109 110 111
			112 113 114 115 116 117 118 119
			120 121 122 123 124 125 126 127
			128 129 130 131 132 133 134 135
			136 137 138 139 140 141 142 143
			144 145 146 147 148 149 150 151
			152 153 154 155 156 157 158 159
			160 161 162 163 164 165 166 167
			168 169 170 171 172 173 174 175
			176 177 178 179 180 181 182 183
			184 185 186 187 188 189 190 191
			192 193 194 195 196 197 198 199
			200 201 202 203 204 205 206 207
			208 209 210 211 212 213 214 215
			216 217 218 219 220 221 222 223
			224 225 226 227 228 229 230 231
			232 233 234 235 236 237 238 239
			240 241 242 243 244 245 246 247
			248 249 250 251 252 253 254 255>;
		default-brightness-level = <73>;
		pwms = <&pwm4 0 25000 0>;
		enable-gpios = <&pio 0x3 0x13 0x1 0x0 0x1 0x1>;
	};

	edp_backlight: backlight-edp {
		compatible = "pwm-backlight";
		status = "disabled";
		brightness-levels = <0 10 20 30 40 50 60 70 80 90 100>;
		/* Level 10 (100% duty) disables this panel's backlight input. */
		default-brightness-level = <8>;
		/* The vendor PWM API expects the global PWM id, not provider-local 0. */
		pwms = <&pwm18 18 5000000 0>;
		/* PE12 is BL_ENABLE; keep it low until the PE14 PWM is running. */
		enable-gpios = <&pio 0x4 0xc 0x1 0x0 0x1 0x0>;
	};

	panel_edp: panel-edp {
		compatible = "edp-general-panel";
		status = "disabled";
		power-delay-ms = <100>;
		disable-delay-ms = <500>;
		backlight-enable-before-aux;
		backlight = <&edp_backlight>;
		width-mm = <294>;
		height-mm = <165>;

		display-timings {
			native-mode = <&edp_timing0>;
			edp_timing0: timing0 {
				/* Exact AML133X30 EDID mode used by the working Linux DRM path. */
				clock-frequency = <141050000>;
				hback-porch = <114>;
				hactive = <1920>;
				hfront-porch = <48>;
				hsync-len = <32>;
				vback-porch = <23>;
				vactive = <1080>;
				vfront-porch = <3>;
				vsync-len = <6>;
				hsync-active = <1>;
				vsync-active = <0>;
				de-active = <1>;
				pixelclk-active = <0>;
			};
		};

		port {
			panel_edp_in: endpoint {
				remote-endpoint = <&edp0_out_panel>;
			};
		};
	};

	panel_0: panel_0@0 {
		compatible = "allwinner,panel-dsi";
		status = "disabled";
		power-delay-ms = <10>;
		gpio-num = <1>;
		enable0-gpios = <&pio 0x3 0x12 0x1 0x0 0x1 0x1>;
		reset-num = <2>;
		reset-delay-ms = <10>;
		reset-gpios = <&pio 0x3 0x15 0x1 0x0 0x1 0x1>;
		backlight = <&backlight0>;
		width-mm = <143>;
		height-mm = <238>;
		dsi,flags = <67108865>;
		dsi,lanes = <4>;
		dsi,format = <0>;
		panel-init-sequence = [
			05 78 01 11
			05 32 01 29
		];
		panel-exit-sequence = [
			05 00 01 28
			05 78 01 10
		];
		display-timings {
			native-mode = <&timing0>;
			timing0: timing0 {
				clock-frequency = <67000000>;
				hback-porch = <26>;
				hactive = <800>;
				hfront-porch = <24>;
				hsync-len = <18>;
				vback-porch = <12>;
				vactive = <1280>;
				vfront-porch = <24>;
				vsync-len = <4>;
				hsync-active = <0>;
				vsync-active = <0>;
				de-active = <0>;
				pixelclk-active = <1>;
			};
		};
		port {
			panel0_in: endpoint@0 {
				reg = <0>;
				remote-endpoint = <&panel_output_0>;
			};
		};
	};
};

&pwm4 {
	pinctrl-names = "active", "sleep";
	pinctrl-0 = <&pwm4_pin_active>;
	pinctrl-1 = <&pwm4_pin_sleep>;
	status = "disabled";
};

&pwm18 {
	pinctrl-names = "active";
	pinctrl-0 = <&pwm18_pin_active>;
	status = "disabled";
};

&serdes {
	status = "disabled";
};

&combophy0 {
	/* Match the polarity that produces a stable 0x77 link in Linux. */
	lane_invert = <1 1 1 1>;
	lane_remap = <0 1 2 3>;
};

/*
 * HDMI and eDP default to pll_video1x4 and both clocks propagate rate
 * changes to that parent.  HDMI is enabled after eDP during U-Boot logo
 * setup, so its 533.28 MHz request otherwise retunes the already-running
 * 141.05 MHz eDP/TCON stream and leaves the eDP input FIFO unlocked.
 * Keep the two active outputs on independent video PLLs.
 */
&clk_hdmi_tv {
	assigned-clock-parents = <&clk_pll_video2x4>;
};

&tv1 {
	status = "disabled";
};

&edp0 {
	compatible = "allwinner,drm-edp";
	force_mode = "edp";
	edp_lane_rate = <1>;
	edp_lane_cnt = <2>;
	edp_colordepth = <8>;
	edp_color_fmt = <0>;
	edp_ssc_en = <0>;
	edp_ssc_mode = <0>;
	edp_training_param_type = <1>;
	edp_allow_eq_fallback;
	/* AML133X30 works with the standard scrambler reset, as in Linux. */
	disable-assr;
	status = "disabled";
};

&edp_out {
	edp0_out_panel: endpoint {
		remote-endpoint = <&panel_edp_in>;
	};
};

&lcd0 {
	status = "disabled";
};

&dsi0 {
	status = "disabled";
	pinctrl-0 = <&dsi0_4lane_pins_a>;
	pinctrl-1 = <&dsi0_4lane_pins_b>;
	pinctrl-names = "active", "sleep";

	ports {
		dsi0_out: port@1 {
			dsi_out_panel: endpoint {
				remote-endpoint = <&panel_input>;
			};
		};
	};

	panel: panel@0 {
		compatible = "allwinner,virtual-panel";
		status = "disabled";
		reg = <0>;
		ports {
			panel_in: port@0 {
				reg = <0>;
				panel_input: endpoint@0 {
					reg = <0>;
					remote-endpoint = <&dsi_out_panel>;
				};
			};
			panel_out: port@1 {
				reg = <1>;
				panel_output_0: endpoint@0 {
					reg = <0>;
					remote-endpoint = <&panel0_in>;
				};
			};
		};
	};
};

&dsi0combophy {
	status = "disabled";
};
